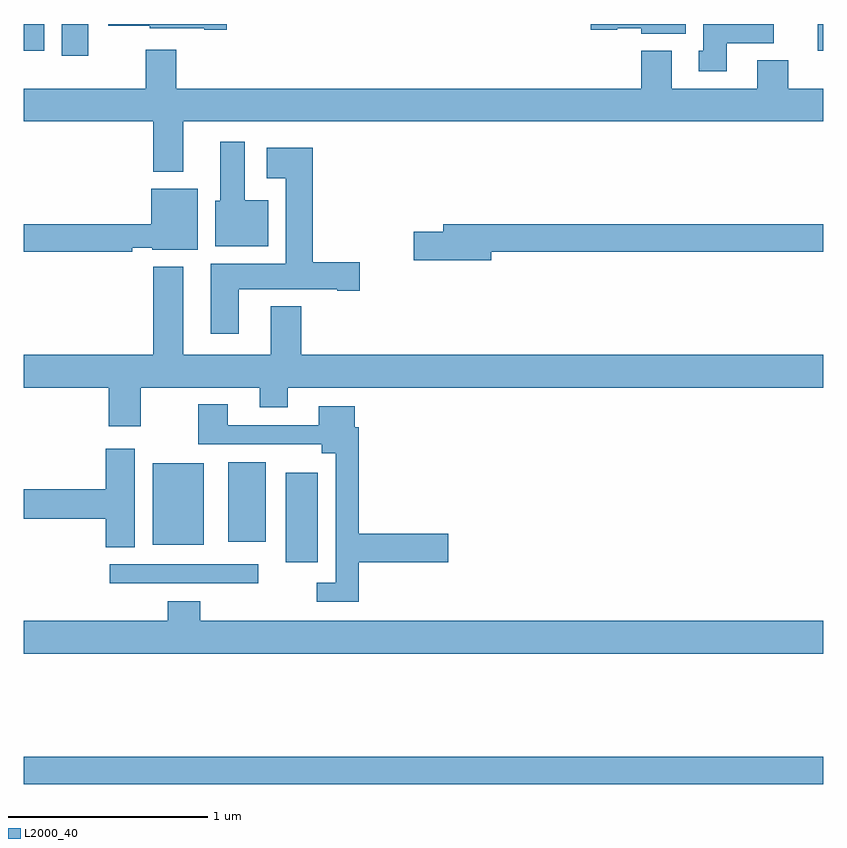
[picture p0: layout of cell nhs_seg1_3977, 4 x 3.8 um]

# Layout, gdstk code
import gdstk
lib = gdstk.Library(unit=1e-6, precision=1e-09)
def R(c, l, rs):  # rectangles x0, y0, x1, y1
    for r in rs: c.add(gdstk.rectangle(r[:2], r[2:], *l))
def P(c, l, *ps):  # polygons
    for p in ps: c.add(gdstk.Polygon(p, *l))
L2000_40 = (2000, 40)

nhs_seg1_3977 = lib.new_cell('nhs_seg1_3977')
R(nhs_seg1_3977, L2000_40, [(327,568.396,331,568.532), (327.429,569.4,328.174,569.496), (328.31,569.505,328.471,569.953), (327.644,569.594,327.901,570.001), (328.022,569.609,328.21,570.007), (327.191,572.04,327.322,572.199), (327,572.064,327.103,572.199), (330.974,572.064,331,572.199)])
P(nhs_seg1_3977, L2000_40, [(328.015,572.199),(327.422,572.199),(327.422,572.189),(327.63,572.189),(327.63,572.177),(327.902,572.177),(327.902,572.17),(328.015,572.17)],
  [(330.313,572.199),(329.838,572.199),(329.838,572.17),(329.97,572.17),(329.97,572.177),(330.09,572.177),(330.09,572.15),(330.313,572.15)],
  [(330.517,572.102),(330.753,572.102),(330.753,572.199),(330.401,572.199),(330.401,572.064),(330.377,572.064),(330.377,571.962),(330.517,571.962)],
  [(327.799,571.712),(331,571.712),(331,571.876),(330.824,571.876),(330.824,572.017),(330.671,572.017),(330.671,571.876),(330.241,571.876),(330.241,572.065),(330.089,572.065),(330.089,571.876),(327.764,571.876),(327.764,572.071),(327.611,572.071),(327.611,571.876),(327,571.876),(327,571.712),(327.647,571.712),(327.647,571.46),(327.799,571.46)],
  [(328.222,571.318),(328.105,571.318),(328.105,571.609),(327.983,571.609),(327.983,571.314),(327.959,571.314),(327.959,571.088),(328.222,571.088)],
  [(328.075,570.872),(328.568,570.872),(328.568,570.865),(328.681,570.865),(328.681,571.007),(328.445,571.007),(328.445,571.579),(328.215,571.579),(328.215,571.427),(328.31,571.427),(328.31,571),(327.935,571),(327.935,570.648),(328.075,570.648)],
  [(327.542,571.08),(327.642,571.08),(327.642,571.07),(327.871,571.07),(327.871,571.375),(327.638,571.375),(327.638,571.196),(327,571.196),(327,571.06),(327.542,571.06)],
  [(329.338,571.06),(331,571.06),(331,571.196),(329.099,571.196),(329.099,571.16),(328.95,571.16),(328.95,571.018),(329.338,571.018)],
  [(328.181,570.281),(328.321,570.281),(328.321,570.38),(331,570.38),(331,570.544),(328.388,570.544),(328.388,570.787),(328.235,570.787),(328.235,570.544),(327.799,570.544),(327.799,570.985),(327.647,570.985),(327.647,570.544),(327,570.544),(327,570.38),(327.425,570.38),(327.425,570.186),(327.585,570.186),(327.585,570.38),(328.181,570.38)],
  [(328.676,569.506),(329.125,569.506),(329.125,569.648),(328.676,569.648),(328.676,570.182),(328.657,570.182),(328.657,570.286),(328.475,570.286),(328.475,570.192),(328.021,570.192),(328.021,570.295),(327.874,570.295),(327.874,570.096),(328.49,570.096),(328.49,570.05),(328.56,570.05),(328.56,569.403),(328.467,569.403),(328.467,569.307),(328.676,569.307)],
  [(327.556,570.073),(327.41,570.073),(327.41,569.87),(327,569.87),(327,569.723),(327.41,569.723),(327.41,569.581),(327.556,569.581)],
  [(331,569.212),(327.884,569.212),(327.884,569.311),(327.719,569.311),(327.719,569.212),(327,569.212),(327,569.048),(331,569.048)])

lib.write_gds('nhs_seg1_3977.gds')
